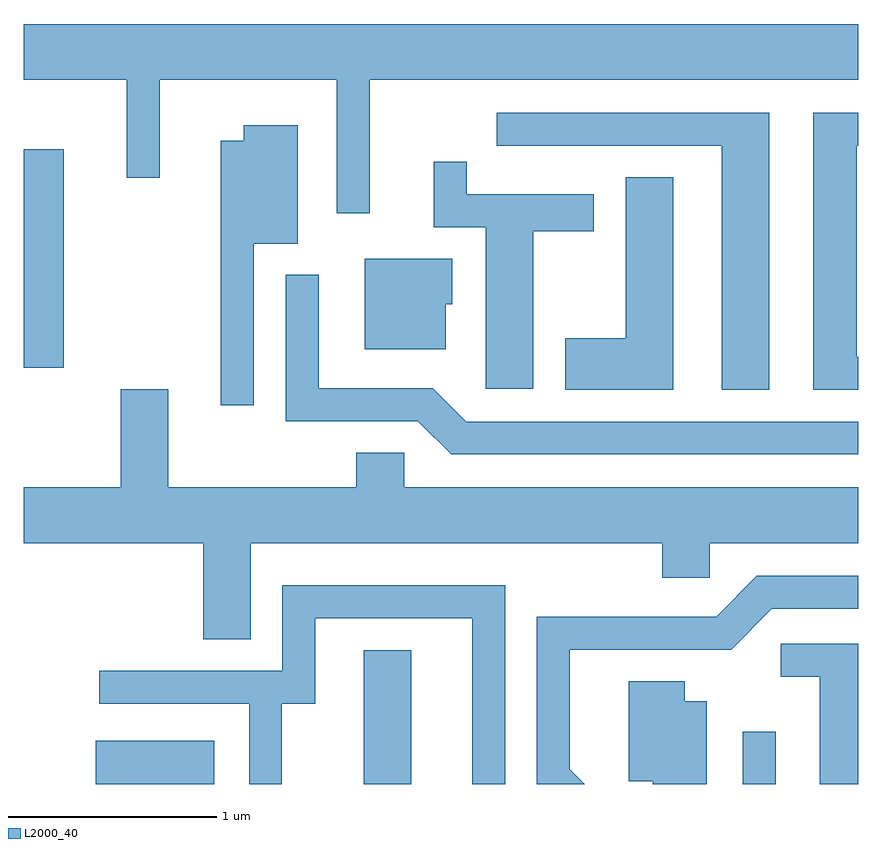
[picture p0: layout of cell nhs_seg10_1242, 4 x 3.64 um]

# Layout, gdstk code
import gdstk
lib = gdstk.Library(unit=1e-6, precision=1e-09)
def R(c, l, rs):  # rectangles x0, y0, x1, y1
    for r in rs: c.add(gdstk.rectangle(r[:2], r[2:], *l))
def P(c, l, *ps):  # polygons
    for p in ps: c.add(gdstk.Polygon(p, *l))
L2000_40 = (2000, 40)

nhs_seg10_1242 = lib.new_cell('nhs_seg10_1242')
R(nhs_seg10_1242, L2000_40, [(221.956,2130.522,222.524,2130.729), (223.241,2130.522,223.469,2131.164), (225.056,2130.522,225.214,2130.773), (221.611,2132.516,221.804,2133.564)])
P(nhs_seg10_1242, L2000_40, [(223.269,2133.896),(225.611,2133.896),(225.611,2134.164),(221.611,2134.164),(221.611,2133.896),(222.106,2133.896),(222.106,2133.428),(222.264,2133.428),(222.264,2133.896),(223.111,2133.896),(223.111,2133.258),(223.269,2133.258)],
  [(225.184,2133.739),(223.878,2133.739),(223.878,2133.581),(224.956,2133.581),(224.956,2132.411),(225.184,2132.411)],
  [(225.611,2132.569),(225.604,2132.569),(225.604,2133.581),(225.611,2133.581),(225.611,2133.739),(225.396,2133.739),(225.396,2132.411),(225.611,2132.411)],
  [(222.714,2133.111),(222.924,2133.111),(222.924,2133.679),(222.666,2133.679),(222.666,2133.604),(222.556,2133.604),(222.556,2132.338),(222.714,2132.338)],
  [(224.054,2133.171),(224.344,2133.171),(224.344,2133.349),(223.734,2133.349),(223.734,2133.503),(223.576,2133.503),(223.576,2133.191),(223.826,2133.191),(223.826,2132.416),(224.054,2132.416)],
  [(224.724,2133.429),(224.496,2133.429),(224.496,2132.659),(224.206,2132.659),(224.206,2132.411),(224.724,2132.411)],
  [(223.634,2132.821),(223.664,2132.821),(223.664,2133.039),(223.246,2133.039),(223.246,2132.606),(223.634,2132.606)],
  [(225.611,2132.259),(223.732,2132.259),(223.572,2132.419),(223.024,2132.419),(223.024,2132.963),(222.866,2132.963),(222.866,2132.261),(223.499,2132.261),(223.659,2132.101),(225.611,2132.101)],
  [(223.434,2132.109),(223.206,2132.109),(223.206,2131.944),(222.304,2131.944),(222.304,2132.414),(222.076,2132.414),(222.076,2131.944),(221.611,2131.944),(221.611,2131.676),(222.471,2131.676),(222.471,2131.216),(222.699,2131.216),(222.699,2131.676),(224.671,2131.676),(224.671,2131.511),(224.899,2131.511),(224.899,2131.676),(225.611,2131.676),(225.611,2131.944),(223.434,2131.944)],
  [(224.229,2130.592),(224.229,2131.166),(225.002,2131.166),(225.197,2131.361),(225.611,2131.361),(225.611,2131.519),(225.124,2131.519),(224.929,2131.324),(224.071,2131.324),(224.071,2130.522),(224.299,2130.522)],
  [(222.849,2130.906),(223.009,2130.906),(223.009,2131.316),(223.761,2131.316),(223.761,2130.522),(223.919,2130.522),(223.919,2131.474),(222.851,2131.474),(222.851,2131.064),(221.973,2131.064),(221.973,2130.906),(222.691,2130.906),(222.691,2130.522),(222.849,2130.522)],
  [(225.611,2131.194),(225.238,2131.194),(225.238,2131.036),(225.426,2131.036),(225.426,2130.522),(225.611,2130.522)],
  [(224.884,2130.919),(224.779,2130.919),(224.779,2131.014),(224.511,2131.014),(224.511,2130.536),(224.626,2130.536),(224.626,2130.522),(224.884,2130.522)])

lib.write_gds('nhs_seg10_1242.gds')
